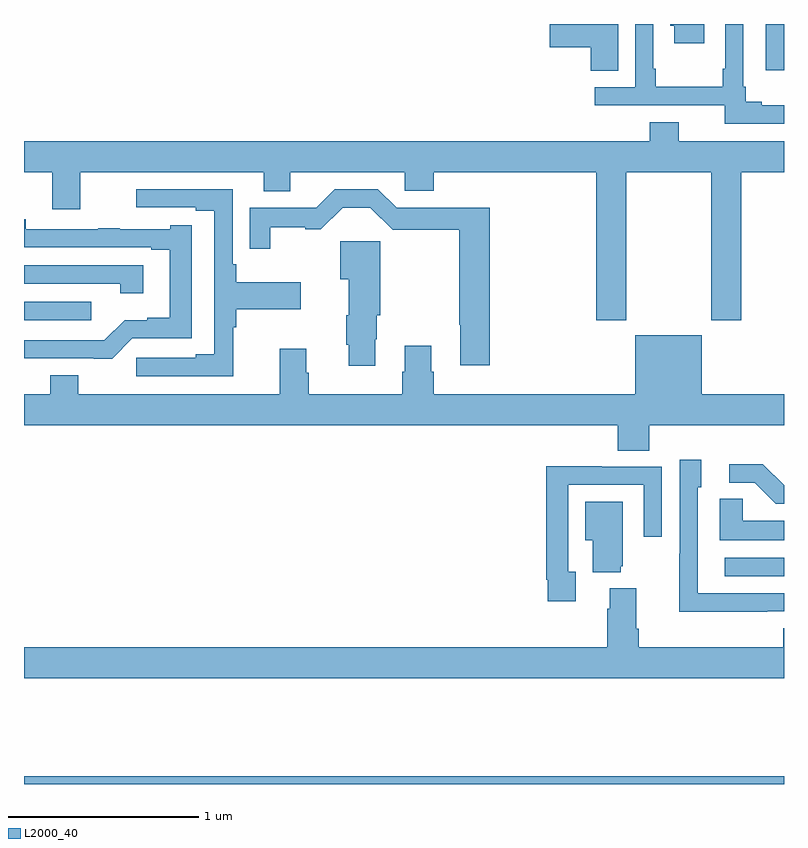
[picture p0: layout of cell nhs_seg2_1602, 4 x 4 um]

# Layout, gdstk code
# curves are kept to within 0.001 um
import gdstk
lib = gdstk.Library(unit=1e-6, precision=1e-09)
def R(c, l, rs):  # rectangles x0, y0, x1, y1
    for r in rs: c.add(gdstk.rectangle(r[:2], r[2:], *l))
def P(c, l, *ps):  # polygons
    for p in ps: c.add(gdstk.Polygon(p, *l))
L2000_40 = (2000, 40)

nhs_seg2_1602 = lib.new_cell('nhs_seg2_1602')
R(nhs_seg2_1602, L2000_40, [(195,593.8,199,593.84), (198.687,594.894,199,594.99), (195,596.241,195.355,596.337), (198.905,597.557,199,597.8)])
P(nhs_seg2_1602, L2000_40, [(198.127,597.8),(197.766,597.8),(197.766,597.677),(197.984,597.677),(197.984,597.553),(198.127,597.553)],
  [(199,597.373),(198.883,597.373),(198.883,597.392),(198.799,597.392),(198.799,597.469),(198.786,597.469),(198.786,597.8),(198.69,597.8),(198.69,597.565),(198.678,597.565),(198.678,597.471),(198.325,597.471),(198.325,597.565),(198.312,597.565),(198.312,597.8),(198.216,597.8),(198.216,597.468),(198.003,597.468),(198.003,597.372),(198.688,597.372),(198.688,597.276),(199,597.276)],
  [(198.58,597.8),(198.401,597.8),(198.401,597.792),(198.422,597.792),(198.422,597.699),(198.58,597.699)],
  [(198.171,597.02),(198.616,597.02),(198.616,596.241),(198.776,596.241),(198.776,597.02),(199,597.02),(199,597.184),(198.445,597.184),(198.445,597.283),(198.293,597.283),(198.293,597.184),(195,597.184),(195,597.02),(195.148,597.02),(195.148,596.826),(195.295,596.826),(195.295,597.02),(196.262,597.02),(196.262,596.921),(196.402,596.921),(196.402,597.02),(197.004,597.02),(197.004,596.922),(197.156,596.922),(197.156,597.02),(198.011,597.02),(198.011,596.241),(198.171,596.241)],
  [(197.45,596.834),(197.201,596.834),(197.201,596.832),(196.962,596.832),(196.863,596.931),(196.635,596.931),(196.538,596.834),(196.188,596.834),(196.188,596.616),(196.297,596.616),(196.297,596.731),(196.481,596.731),(196.481,596.719),(196.562,596.719),(196.677,596.834),(196.822,596.834),(196.94,596.716),(197.29,596.716),(197.29,596.216),(197.297,596.216),(197.297,596.004),(197.45,596.004)],
  [(196.101,596.204),(196.118,596.204),(196.118,596.3),(196.456,596.3),(196.456,596.44),(196.118,596.44),(196.118,596.536),(196.098,596.536),(196.098,596.931),(195.591,596.931),(195.591,596.835),(195.905,596.835),(195.905,596.817),(196.002,596.817),(196.002,596.063),(195.905,596.063),(195.905,596.043),(195.591,596.043),(195.591,595.947),(196.101,595.947)],
  [(195.57,596.145),(195.883,596.145),(195.883,596.74),(195.771,596.74),(195.771,596.721),(195.503,596.721),(195.503,596.726),(195.391,596.726),(195.391,596.721),(195.009,596.721),(195.009,596.773),(195,596.773),(195,596.625),(195.671,596.625),(195.671,596.613),(195.767,596.613),(195.767,596.254),(195.648,596.254),(195.648,596.242),(195.529,596.242),(195.423,596.136),(195,596.136),(195,596.04),(195.464,596.039)],
  [(196.849,596.141),(196.857,596.141),(196.857,596.268),(196.875,596.268),(196.875,596.656),(196.664,596.656),(196.664,596.456),(196.709,596.456),(196.709,596.268),(196.697,596.268),(196.697,596.113),(196.709,596.113),(196.709,596.001),(196.849,596.001)],
  [(195.628,596.529),(195,596.529),(195,596.433),(195.507,596.433),(195.507,596.382),(195.628,596.382)],
  [(198.29,595.688),(199,595.688),(199,595.852),(198.568,595.852),(198.568,596.161),(198.218,596.161),(198.218,595.852),(197.156,595.852),(197.156,595.971),(197.143,595.971),(197.143,596.107),(197.003,596.107),(197.003,595.971),(196.991,595.971),(196.991,595.852),(196.499,595.852),(196.499,595.964),(196.486,595.964),(196.486,596.092),(196.346,596.092),(196.346,595.852),(195.285,595.852),(195.285,595.951),(195.137,595.951),(195.137,595.852),(195,595.852),(195,595.688),(198.125,595.688),(198.125,595.555),(198.29,595.555)],
  [(198.911,594.708),(199,594.708),(199,594.804),(198.546,594.804),(198.546,595.362),(198.565,595.362),(198.565,595.507),(198.45,595.507),(198.45,595.013),(198.448,595.013),(198.448,594.707),(198.911,594.707)],
  [(199,595.373),(198.889,595.484),(198.711,595.484),(198.711,595.386),(198.845,595.386),(198.956,595.275),(199,595.275)],
  [(197.905,594.918),(197.865,594.918),(197.865,595.374),(198.261,595.374),(198.261,595.101),(198.357,595.101),(198.357,595.47),(198.041,595.47),(198.041,595.472),(197.749,595.472),(197.749,594.874),(197.757,594.874),(197.757,594.762),(197.905,594.762)],
  [(199,595.186),(198.783,595.186),(198.783,595.301),(198.662,595.301),(198.662,595.082),(199,595.082)],
  [(198.14,594.945),(198.151,594.945),(198.151,595.285),(197.954,595.285),(197.954,595.082),(197.993,595.082),(197.993,594.914),(198.14,594.914)],
  [(199,594.619),(198.995,594.619),(198.995,594.52),(198.236,594.52),(198.236,594.616),(198.223,594.616),(198.223,594.829),(198.083,594.829),(198.083,594.722),(198.071,594.722),(198.071,594.52),(195,594.52),(195,594.356),(199,594.356)])

lib.write_gds('nhs_seg2_1602.gds')
